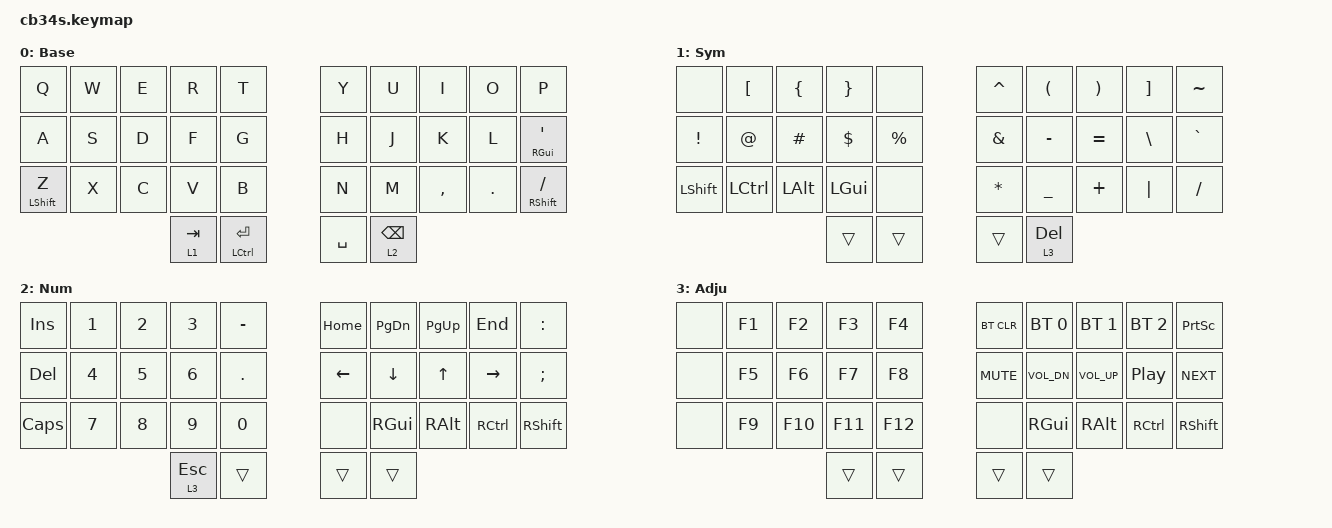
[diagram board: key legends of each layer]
/*
 * Copyright (c) 2020 The ZMK Contributors
 *
 * SPDX-License-Identifier: MIT
 */

#include <behaviors.dtsi>
#include <dt-bindings/zmk/bt.h>
#include <dt-bindings/zmk/keys.h>

// #include "keymap_eurkey_swiss_de.h"

#define DEFAULT_L 	0
#define NUMSYM_L 	1
#define NAV_L 		2
#define BLE_L 		3
#define COMFY_L		4
#define NUMBERS_L	5

// Using layer taps on thumbs, having quick tap as well helps w/ repeating space/backspace

&lt {
    flavor = "hold-preferred";
    quick-tap-ms = <180>;
};

// Sticky Layer Behavior - release sticky behavior after x ms

&sk { release-after-ms = <1800>; };

&mt {
    quick-tap-ms = <180>;
    flavor = "balanced";
};

// COMBOS
// ===========================================================================================================
/*
	.----------------------------------------------------------------------.
	|  0  |  1  |  2  |  3  |  4  |          |  5  |  6  |  7  |  8  |  9  |
	|  10 |  11 |  12 |  13 |  14 |          |  15 |  16 |  17 |  18 |  19 |
	|  20 |  21 |  22 |  23 |  24 |          |  25 |  26 |  27 |  28 |  29 |
	'-----------------\  30 |  31 |          |  32 |  33 /-----------------'
	                   '--------------------------------'
			
	ESC 	= 0 | 1			
	TAB 	= 11 | 12		LC(C)	= 17 | 18
							LC(V)	= 27 | 28
	ENTER 	= 12 | 13		SK(SFT) = 16 | 17       SK(LALT) = 6 | 7
	LPAR 	= 13 | 14		RPAR 	= 15 | 16       REPEAT 	= 18 | 19

	TO_4	= 21 | 22
	TO_0	= 22 | 23       TO_0	= 26 | 27 
	TO_3	= 20 | 21 | 22	TO_3	= 27 | 28 | 29
    TO_5    = 3  | 13       TO_5    = 6  | 16

    T       = 10 | 13               T       = 16 | 19
    G       = 1  | 2                G       = 7  | 8
    B       = 20 | 23               B       = 26 | 29
    Y       = 20 | 21 | 22 | 23     Y       = 26 | 27 | 28 | 29
    H       = 21 | 23               H       = 26 | 28
    N       = 20 | 21               N       = 28 | 29

*/

/ {
    combos { compatible = "zmk,combos"; };

    // BEHAVIOR    
    // ===========================================================================================================

    behaviors {
        mtq: hold_tap {
            compatible = "zmk,behavior-hold-tap";
            label = "Hold/Tap";
            bindings = <&kp>, <&kp>;

            #binding-cells = <2>;
            tapping-term-ms = <200>;
            quick-tap-ms = <180>;
            flavor = "hold-preferred";
        };
    };

    // KEYMAP
    // ===========================================================================================================
    // -----------------------------------------------------------------------------
    /* 0 = Default
	.----------------------------------------------------------------------.
	|Q DEL|  W  |  E  |  R  |  T  |          |  Y  |  U  |  I  |  O  |  P  |
	|  A  |  S  |  D  |  F  |  G  |          |  H  |  J  |  K  |  L  |BKSPC|
	|  Z  |  X  |  C  |  V  |  B  |          |  N  |  M  |  ,  |  .  |MO_1 |
	'-----------------\ CTRL| SPC |          | SFT | RALT/-----------------'
	                   '--------------------------------'
*/

    keymap {
        compatible = "zmk,keymap";

        default_layer {
            label = "Base";
            bindings = <
&kp Q        &kp W  &kp E  &kp R      &kp T             &kp Y      &kp U            &kp I      &kp O    &kp P
&kp A        &kp S  &kp D  &kp F      &kp G             &kp H      &kp J            &kp K      &kp L    &mt RGUI SQT
&mt LSHFT Z  &kp X  &kp C  &kp V      &kp B             &kp N      &kp M            &kp COMMA  &kp DOT  &mt RSHFT SLASH
                           &lt 1 TAB  &mtq LCTRL ENTER  &kp SPACE  &lt 2 BACKSPACE
            >;
        };

        // ===========================================================================================================
        // -----------------------------------------------------------------------------
        /* 1 = Numbers and Symbols
	.----------------------------------------------------------------------.
	| 1 F1|2 F2 |3 F3 |4 F4 |5 F5 |          |  6  |  7  |  8  |  9  |  0  |
	| TAB |  _  |  -  |  =  |  +  |          | [ ] |  @  | ' " |  "  | DEL |
	| LGUI|  !  |  ?  | ; : |  :  |          | { } |  /  |  |  |  \  |     |
	'-----------------\ LALT| SFT |          |TO_2 |     /-----------------'
	                   '--------------------------------'
*/

        sym_layer {
            label = "Sym";
            bindings = <
&none      &kp LBKT   &kp LBRC  &kp RBRC  &none      &kp CARET  &kp LPAR   &kp RPAR   &kp RBKT  &kp TILDE
&kp EXCL   &kp AT     &kp HASH  &kp DLLR  &kp PRCNT  &kp AMPS   &kp MINUS  &kp EQUAL  &kp BSLH  &kp GRAVE
&kp LSHFT  &kp LCTRL  &kp LALT  &kp LGUI  &none      &kp ASTRK  &kp UNDER  &kp PLUS   &kp PIPE  &kp SLASH
                                &trans    &trans     &trans     &lt 3 DEL
            >;
        };

        // ===========================================================================================================
        // -----------------------------------------------------------------------------
        /* 2 = Navigation
	.----------------------------------------------------------------------.
	| ESC |  O  |  E  |  R  |  P  |          |PGUP | ← ← |  ↑  | → → | DEL |
	| DEL |  S  |  D  |  F  |  L  |          |PGDN |  ←  |  ↓  |  →  |BKSPC|
	| SFT |  X  |  C  |  V  |TO_0 |          |HOME |  `  |  ~  |     |TO_0 |
	'-----------------\ CTRL| SPC |          |SHFT |CTRL /-----------------'
	                   '--------------------------------'
*/

        num_layer {
            label = "Num";
            bindings = <
&kp INS   &kp N1  &kp N2  &kp N3     &kp MINUS  &kp HOME  &kp PG_DN  &kp PG_UP  &kp END    &kp COLON
&kp DEL   &kp N4  &kp N5  &kp N6     &kp DOT    &kp LEFT  &kp DOWN   &kp UP     &kp RIGHT  &kp SEMI
&kp CAPS  &kp N7  &kp N8  &kp N9     &kp N0     &none     &kp RGUI   &kp RALT   &kp RCTRL  &kp RSHFT
                          &lt 3 ESC  &trans     &trans    &trans
            >;
        };

        adjust_layer {
            bindings = <
&none  &kp F1  &kp F2   &kp F3   &kp F4   &bt BT_CLR  &bt BT_SEL 0  &bt BT_SEL 1  &bt BT_SEL 2  &kp PSCRN
&none  &kp F5  &kp F6   &kp F7   &kp F8   &kp C_MUTE  &kp C_VOL_DN  &kp C_VOL_UP  &kp C_PP      &kp C_NEXT
&none  &kp F9  &kp F10  &kp F11  &kp F12  &none       &kp RGUI      &kp RALT      &kp RCTRL     &kp RSHFT
                        &trans   &trans   &trans      &trans
            >;

            label = "Adju";
        };

        // ===========================================================================================================
        // -----------------------------------------------------------------------------
        /* 3 = Bluetooth
	.----------------------------------------------------------------------.
	| BT0 | BT1 | BT2 | BTP | BTN |     	 | BTN | BTP | BT2 | BT1 | BT0 |
	|     |     |     |     | BLC |     	 | BLC |     |     |     |     |
	|TO_0 |     |     |     | BLO |          | BLO |     |     |	 |TO_0 |
	'-----------------\     |TO_0 |          |TO_0 |     /-----------------'
	                   '--------------------------------'
*/
        // ===========================================================================================================
        // -----------------------------------------------------------------------------
        /* 4 = Comfort
	.----------------------------------------------------------------------.
	| TIL | ← ← |  ↑  | → → |  ^  |     	 |PGUP | ← ← |  ↑  | → → | DEL |
	| DEL |  ←  |  ↓  |  →  |  <  |     	 |PGDN |  ←  |  ↓  |  →  |BKSPC|
	| SFT | DEL |BKSPC|     |  >  |          |HOME |  `  |  ~  |     |TO_0 |
	'-----------------\ CTRL| SPC |          |SHFT |CTRL /-----------------'
	                   '--------------------------------'
*/
        // ===========================================================================================================
        // -----------------------------------------------------------------------------
        /* 5 = Numbers
	.----------------------------------------------------------------------.
	|  /  |  7  |  8  |  9  |  *  |     	 |  *  |  7  |  8  |  9  |  /  |
	|BKSPC|  4  |  5  |  6  |  +  |     	 |  +  |  4  |  5  |  6  |BKSPC|
	|  0  |  1  |  2  |  3  |  -  |          |  -  |  1  |  2  |  3  |  0  |
	'-----------------\ SHFT| SPC |          | SPC |SHFT /-----------------'
	                   '--------------------------------'
*/
    };
};

// ===========================================================================================================
